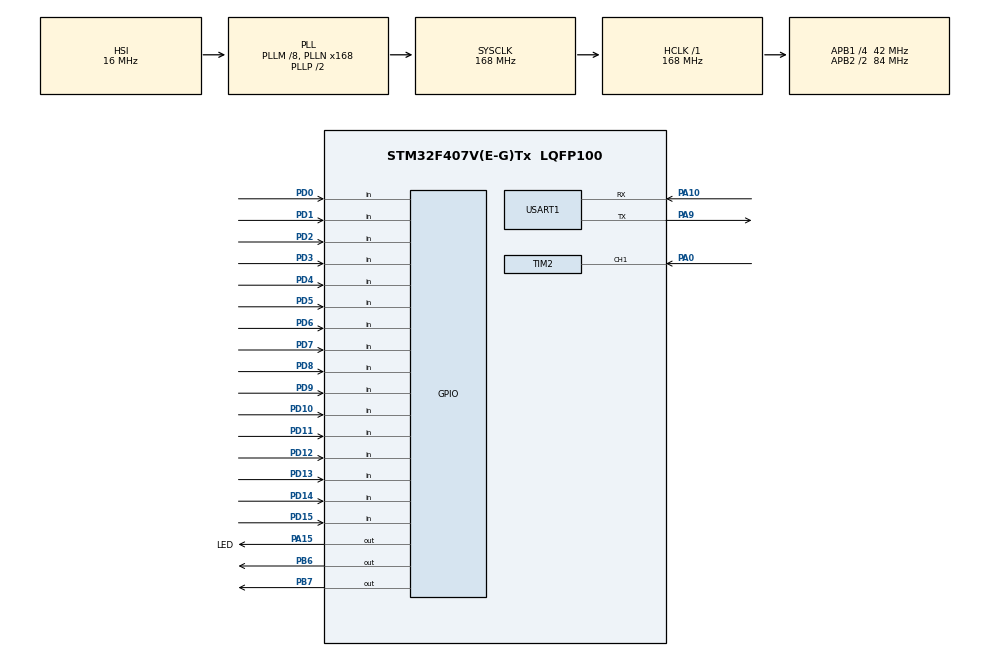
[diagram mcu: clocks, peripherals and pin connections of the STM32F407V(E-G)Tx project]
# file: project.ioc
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Dma.Request0=TIM2_CH1
Dma.TIM2_CH1.0.Direction=DMA_PERIPH_TO_MEMORY
Dma.TIM2_CH1.0.FIFOMode=DMA_FIFOMODE_DISABLE
Dma.TIM2_CH1.0.Instance=DMA1_Stream5
Dma.TIM2_CH1.0.MemDataAlignment=DMA_MDATAALIGN_HALFWORD
Dma.TIM2_CH1.0.MemInc=DMA_MINC_ENABLE
Dma.TIM2_CH1.0.Mode=DMA_NORMAL
Dma.TIM2_CH1.0.PeriphDataAlignment=DMA_PDATAALIGN_HALFWORD
Dma.TIM2_CH1.0.PeriphInc=DMA_PINC_DISABLE
Dma.TIM2_CH1.0.Priority=DMA_PRIORITY_VERY_HIGH
Mcu.Family=STM32F4
Mcu.Name=STM32F407V(E-G)Tx
Mcu.Package=LQFP100
NVIC.DMA1_Stream5_IRQn=true\:0\:0\:false\:false\:true\:false\:true\:true
NVIC.PriorityGroup=NVIC_PRIORITYGROUP_4
NVIC.TIM2_IRQn=true\:0\:0\:false\:false\:true\:true\:true\:true
PA0-WKUP.GPIO_PuPd=GPIO_PULLDOWN
PA0-WKUP.GPIO_Speed=GPIO_SPEED_FREQ_HIGH
PA0-WKUP.Signal=S_TIM2_CH1_ETR
PA10.Mode=Asynchronous
PA10.Signal=USART1_RX
PA13.Mode=Serial_Wire
PA13.Signal=SYS_JTMS-SWDIO
PA14.Mode=Serial_Wire
PA14.Signal=SYS_JTCK-SWCLK
PA15.GPIO_Label=LED
PA15.Signal=GPIO_Output
PA9.Mode=Asynchronous
PA9.Signal=USART1_TX
PB6.GPIO_Speed=GPIO_SPEED_FREQ_MEDIUM
PB6.Signal=GPIO_Output
PB7.GPIO_Speed=GPIO_SPEED_FREQ_MEDIUM
PB7.Signal=GPIO_Output
PC14-OSC32_IN.Mode=LSE-External-Oscillator
PC14-OSC32_IN.Signal=RCC_OSC32_IN
PC15-OSC32_OUT.Mode=LSE-External-Oscillator
PC15-OSC32_OUT.Signal=RCC_OSC32_OUT
PD0.GPIO_PuPd=GPIO_PULLDOWN
PD0.Signal=GPIO_Input
PD1.GPIO_PuPd=GPIO_PULLDOWN
PD1.Signal=GPIO_Input
PD10.GPIO_PuPd=GPIO_PULLDOWN
PD10.Signal=GPIO_Input
PD11.GPIO_PuPd=GPIO_PULLDOWN
PD11.Signal=GPIO_Input
PD12.GPIO_PuPd=GPIO_PULLDOWN
PD12.Signal=GPIO_Input
PD13.GPIO_PuPd=GPIO_PULLDOWN
PD13.Signal=GPIO_Input
PD14.GPIO_PuPd=GPIO_PULLDOWN
PD14.Signal=GPIO_Input
PD15.GPIO_PuPd=GPIO_PULLDOWN
PD15.Signal=GPIO_Input
PD2.GPIO_PuPd=GPIO_PULLDOWN
PD2.Signal=GPIO_Input
PD3.GPIO_PuPd=GPIO_PULLDOWN
PD3.Signal=GPIO_Input
PD4.GPIO_PuPd=GPIO_PULLDOWN
PD4.Signal=GPIO_Input
PD5.GPIO_PuPd=GPIO_PULLDOWN
PD5.Signal=GPIO_Input
PD6.GPIO_PuPd=GPIO_PULLDOWN
PD6.Signal=GPIO_Input
PD7.GPIO_PuPd=GPIO_PULLDOWN
PD7.Signal=GPIO_Input
PD8.GPIO_PuPd=GPIO_PULLDOWN
PD8.Signal=GPIO_Input
PD9.GPIO_PuPd=GPIO_PULLDOWN
PD9.Signal=GPIO_Input
PH0-OSC_IN.Mode=HSE-External-Oscillator
PH0-OSC_IN.Signal=RCC_OSC_IN
PH1-OSC_OUT.Mode=HSE-External-Oscillator
PH1-OSC_OUT.Signal=RCC_OSC_OUT
ProjectManager.HeapSize=0x200
ProjectManager.StackSize=0x400
ProjectManager.TargetToolchain=MDK-ARM V5.27
RCC.48MHZClocksFreq_Value=84000000
RCC.AHBFreq_Value=168000000
RCC.APB1CLKDivider=RCC_HCLK_DIV4
RCC.APB1Freq_Value=42000000
RCC.APB1TimFreq_Value=84000000
RCC.APB2CLKDivider=RCC_HCLK_DIV2
RCC.APB2Freq_Value=84000000
RCC.APB2TimFreq_Value=168000000
RCC.CortexFreq_Value=168000000
RCC.HCLKFreq_Value=168000000
RCC.HSE_VALUE=25000000
RCC.HSI_VALUE=16000000
RCC.PLLM=8
RCC.PLLN=168
RCC.SYSCLKFreq_VALUE=168000000
RCC.SYSCLKSource=RCC_SYSCLKSOURCE_PLLCLK
RCC.VCOOutputFreq_Value=336000000
SH.S_TIM2_CH1_ETR.0=TIM2_CH1,Input_Capture1_from_TI1
TIM2.AutoReloadPreload=TIM_AUTORELOAD_PRELOAD_ENABLE
TIM2.Channel-Input_Capture1_from_TI1=TIM_CHANNEL_1
TIM2.Prescaler=0
USART1.VirtualMode=VM_ASYNC
VP_TIM2_VS_ClockSourceINT.Mode=Internal
board=custom

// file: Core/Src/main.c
/* USER CODE BEGIN Header */
/**
  ******************************************************************************
  * @file           : main.c
  * @brief          : 主程序体
  ******************************************************************************
  * @attention
  *
  * Copyright (c) 2024 STMicroelectronics.
  * All rights reserved.
  *
  * This software is licensed under terms that can be found in the LICENSE file
  * in the root directory of this software component.
  * If no LICENSE file comes with this software, it is provided AS-IS.
  *
  ******************************************************************************
  */
/* USER CODE END Header */
#include "main.h"
#include "dma.h"
#include "tim.h"
#include "usart.h"
#include "gpio.h"

/* USER CODE BEGIN Includes */
#include "LED.h" // 包含LED控制头文件
#include "KEY.h" // 包含按键控制头文件
#include <main.h>
#include "SI5351_Soft.h"
// 如有需要，可在此处添加额外的包含文件
/* USER CODE END Includes */

/* USER CODE BEGIN PTD */
#define BUFFER_SIZE 256  // 缓冲区大小
uint16_t ADC_Value[BUFFER_SIZE] = {0};  // ADC数据存储数组
volatile bool ADC_done = false;
TIM_HandleTypeDef htim2;
DMA_HandleTypeDef hdma_tim2_ch1;
// 如有需要，可在此处添加自定义类型定义
/* USER CODE END PTD */

/* USER CODE BEGIN PD */
// 如有需要，可在此处添加私有宏定义
/* USER CODE END PD */

/* USER CODE BEGIN PM */
// 如有需要，可在此处添加私有宏
/* USER CODE END PM */

/* USER CODE BEGIN PV */
// 如有需要，可在此处添加私有变量
/* USER CODE END PV */

void SystemClock_Config(void);
/* USER CODE BEGIN PFP */
 void HAL_TIM_IC_CaptureCallback(TIM_HandleTypeDef *htim)
     {
    if(htim == &htim2)
    {
       HAL_DMA_Start_IT(&hdma_tim2_ch1, (uint32_t)&GPIOD->IDR, (uint32_t)&ADC_Value, 1);

        // 如果需要连续搬运，可在此重新使能DMA
        __HAL_DMA_ENABLE(&hdma_tim2_ch1);
    }
    HAL_TIM_IC_Start_IT(htim, TIM_CHANNEL_1);
}
     // DMA传输完成回调函数
void HAL_DMA_XferCpltCallback(DMA_HandleTypeDef *hdma) {
    if(hdma == &hdma_tim2_ch1) {
        ADC_done = true;  // 仅标记完成，不在此重启DMA
        // 可在此添加数据处理代码
    }
    DMA_Start();
}
// 如有需要，可在此处添加私有函数原型
/* USER CODE END PFP */

/* USER CODE BEGIN 0 */
uint8_t rec_tra_data[1]; // 定义一个数组，用于存放接收和发送的数据
// 用户代码可以在此处添加
/* USER CODE END 0 */

int main(void)
{

  /* MCU Configuration--------------------------------------------------------*/

  /* Reset of all peripherals, Initializes the Flash interface and the Systick. */
  HAL_Init();

  /* Configure the system clock */
  SystemClock_Config();

  /* Initialize all configured peripherals */
  MX_GPIO_Init();
  MX_DMA_Init();
  MX_USART1_UART_Init();
  MX_TIM2_Init();
  /* USER CODE BEGIN 2 */
  //HAL_UART_Transmit(&huart1, "Hello World", sizeof("Hello World"), 0XFFFF); // 通过USART1发送"Hello World"
  //HAL_UART_Receive_IT(&huart1, (uint8_t *)&rec_tra_data, 1); // 使能USART1接收中断，接收1字节数据
  HAL_TIM_IC_Start_IT(&htim2, TIM_CHANNEL_1);
  //ADS805E_Init();//初始化dma与tim中断
  Si5351Init();//初始化方波发生器
  HAL_Delay(10);
  SetFrequency(1000000,1);
  SetFrequency(1000000,0);
  SetFrequency(1000000,2);

  /* USER CODE END 2 */

  /* Infinite loop */
  while (1)
  {

    /* USER CODE BEGIN 3 */
     if (ADC_done) {
            // 数据处理逻辑
            ADC_done = false;
            DMA_Start();
     }
//    if (rec_tra_data[0] == 0x01) { HAL_GPIO_WritePin(LED_GPIO_Port, LED_Pin, GPIO_PIN_RESET); } // 如果接收到0x01，关闭LED
//    if (rec_tra_data[0] == 0x02) { HAL_GPIO_WritePin(LED_GPIO_Port, LED_Pin, GPIO_PIN_SET); } // 如果接收到0x02，打开LED
  }
  /* USER CODE END 3 */
}

void SystemClock_Config(void)
{
  RCC_OscInitTypeDef RCC_OscInitStruct = {0};
  RCC_ClkInitTypeDef RCC_ClkInitStruct = {0};

  /** Configure the main internal regulator output voltage
  */
  __HAL_RCC_PWR_CLK_ENABLE();
  __HAL_PWR_VOLTAGESCALING_CONFIG(PWR_REGULATOR_VOLTAGE_SCALE1);

  /** Initializes the RCC Oscillators according to the specified parameters
  * in the RCC_OscInitTypeDef structure.
  */
  RCC_OscInitStruct.OscillatorType = RCC_OSCILLATORTYPE_HSI;
  RCC_OscInitStruct.HSIState = RCC_HSI_ON;
  RCC_OscInitStruct.HSICalibrationValue = RCC_HSICALIBRATION_DEFAULT;
  RCC_OscInitStruct.PLL.PLLState = RCC_PLL_ON;
  RCC_OscInitStruct.PLL.PLLSource = RCC_PLLSOURCE_HSI;
  RCC_OscInitStruct.PLL.PLLM = 8;
  RCC_OscInitStruct.PLL.PLLN = 168;
  RCC_OscInitStruct.PLL.PLLP = RCC_PLLP_DIV2;
  RCC_OscInitStruct.PLL.PLLQ = 4;
  if (HAL_RCC_OscConfig(&RCC_OscInitStruct) != HAL_OK)
  {
    Error_Handler();
  }

  /** Initializes the CPU, AHB and APB buses clocks
  */
  RCC_ClkInitStruct.ClockType = RCC_CLOCKTYPE_HCLK|RCC_CLOCKTYPE_SYSCLK
                              |RCC_CLOCKTYPE_PCLK1|RCC_CLOCKTYPE_PCLK2;
  RCC_ClkInitStruct.SYSCLKSource = RCC_SYSCLKSOURCE_PLLCLK;
  RCC_ClkInitStruct.AHBCLKDivider = RCC_SYSCLK_DIV1;
  RCC_ClkInitStruct.APB1CLKDivider = RCC_HCLK_DIV4;
  RCC_ClkInitStruct.APB2CLKDivider = RCC_HCLK_DIV2;

  if (HAL_RCC_ClockConfig(&RCC_ClkInitStruct, FLASH_LATENCY_5) != HAL_OK)
  {
    Error_Handler();
  }
}

/* USER CODE BEGIN 4 */
/* 串口中断回调函数 */
void HAL_UART_RxCpltCallback(UART_HandleTypeDef *huart)
{
  if (huart == &huart1) // 判断是否为USART1的中断
  {
    HAL_UART_Transmit(&huart1, (uint8_t *)rec_tra_data, 1, 0xffff); // 将接收到的数据发送回去
    HAL_UART_Receive_IT(&huart1, (uint8_t *)&rec_tra_data, 1); // 再次开启串口接收中断，准备接收下一个字节
  }
}

/* USER CODE END 4 */

void Error_Handler(void)
{
  /* USER CODE BEGIN Error_Handler_Debug */
  // 用户可以添加自己的实现来报告HAL错误返回状态
  __disable_irq(); // 禁用中断
  while (1) // 无限循环
  {
  }
  /* USER CODE END Error_Handler_Debug */
}

#ifdef  USE_FULL_ASSERT
/**
  * @brief  Reports the name of the source file and the source line number
  *         where the assert_param error has occurred.
  * @param  file: pointer to the source file name
  * @param  line: assert_param error line source number
  * @retval None
  */
void assert_failed(uint8_t *file, uint32_t line)
{
  /* USER CODE BEGIN 6 */
  // 用户可以添加自己的实现来报告文件名和行号
  /* USER CODE END 6 */
}
#endif /* USE_FULL_ASSERT */
